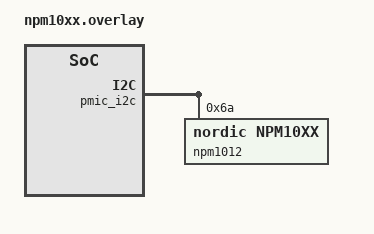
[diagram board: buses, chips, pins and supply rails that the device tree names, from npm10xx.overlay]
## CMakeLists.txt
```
# Copyright (c) 2026 Nordic Semiconductor ASA
# SPDX-License-Identifier: Apache-2.0

cmake_minimum_required(VERSION 3.20.0)

list(APPEND EXTRA_DTC_OVERLAY_FILE npm10xx.overlay)
find_package(Zephyr REQUIRED HINTS $ENV{ZEPHYR_BASE})

project(npm10xx_uicr_sample)

target_sources(app PRIVATE src/main.c)
```

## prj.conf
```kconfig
# Copyright (c) 2026 Nordic Semiconductor ASA
# SPDX-License-Identifier: Apache-2.0

# Logging
CONFIG_LOG=y
# Dry run spits out a lot of messages - avoid dropping any due to buffering
CONFIG_LOG_MODE_IMMEDIATE=y

# Required drivers
CONFIG_CHARGER=y
CONFIG_MFD=y
CONFIG_OTP=y
CONFIG_SENSOR=y

CONFIG_OTP_PROGRAM=y
# Dry run programming by default for safety - change at your own risk
CONFIG_OTP_NPM10XX_DRY_RUN=y
```

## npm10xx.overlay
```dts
/*
 * Copyright (C) 2026 Nordic Semiconductor ASA
 * SPDX-License-Identifier: Apache-2.0
 */

&pmic_i2c {
	npm1012: pmic@6a {
		compatible = "nordic,npm10xx";
		reg = <0x6a>;

		npm1012_charger: charger {
			compatible = "nordic,npm10xx-charger";
			/* UICR programming requires highest VBUS current limit. The VBUS source
			 * must also be able to deliver UICR programming peak current (40 mA) +
			 * total system load.
			 */
			vbus-limit-microamp = <300000>;
		};

		npm1012_adc: sensor {
			compatible = "nordic,npm10xx-adc";
		};

		npm1012_uicr: otp {
			compatible = "nordic,npm10xx-uicr";
		};
	};
};
```

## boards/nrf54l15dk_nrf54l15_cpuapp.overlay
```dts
/*
 * Copyright (C) 2026 Nordic Semiconductor ASA
 * SPDX-License-Identifier: Apache-2.0
 */

&pinctrl {
	pmic_i2c_default: pmic_i2c_default {
		group1 {
			psels = <NRF_PSEL(TWIM_SDA, 1, 11)>,
				<NRF_PSEL(TWIM_SCL, 1, 12)>;
			bias-pull-up;
		};
	};

	pmic_i2c_sleep: pmic_i2c_sleep {
		group1 {
			psels = <NRF_PSEL(TWIM_SDA, 1, 11)>,
				<NRF_PSEL(TWIM_SCL, 1, 12)>;
			low-power-enable;
		};
	};
};

pmic_i2c: &i2c21 {
	pinctrl-0 = <&pmic_i2c_default>;
	pinctrl-1 = <&pmic_i2c_sleep>;
	pinctrl-names = "default", "sleep";
	status = "okay";
};
```

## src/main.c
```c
/*
 * Copyright (C) 2026 Nordic Semiconductor ASA
 * SPDX-License-Identifier: Apache-2.0
 */

#include <zephyr/kernel.h>
#include <zephyr/drivers/mfd/npm10xx.h>
#include <zephyr/drivers/charger.h>
#include <zephyr/drivers/otp.h>
#include <zephyr/drivers/otp/npm10xx.h>
#include <zephyr/drivers/sensor.h>
#include <zephyr/drivers/sensor/npm10xx.h>
#include <zephyr/logging/log.h>

#include "npm1012_otp.h"

LOG_MODULE_REGISTER(main, CONFIG_LOG_DEFAULT_LEVEL);

static const uint8_t uicr_data[OTP_NPM10XX_UICR_SIZE] = NPM1012_OTP_ARRAY;

static const struct device *npm1012 = DEVICE_DT_GET(DT_NODELABEL(npm1012));
static const struct device *npm1012_adc = DEVICE_DT_GET(DT_NODELABEL(npm1012_adc));
static const struct device *npm1012_charger = DEVICE_DT_GET(DT_NODELABEL(npm1012_charger));
static const struct device *npm1012_uicr = DEVICE_DT_GET(DT_NODELABEL(npm1012_uicr));

#define VBUS_STATE_RETRY_MS 500
/* ref. datasheet chapter 3.5.15 for electrical specifications on UICR programming */
#define VBUS_WITHIN_RANGE(vbus_mv)    ((vbus_mv) > 4750 && (vbus_mv) < 5500)
#define DIE_TEMP_WITHIN_RANGE(die_mC) ((die_mC) > 10000 && (die_mC) < 40000)

static bool devices_are_ready(void)
{
	if (!device_is_ready(npm1012)) {
		LOG_ERR("MFD not ready");
		return false;
	}
	if (!device_is_ready(npm1012_adc)) {
		LOG_ERR("ADC not ready");
		return false;
	}
	if (!device_is_ready(npm1012_charger)) {
		LOG_ERR("Charger not ready");
		return false;
	}
	if (!device_is_ready(npm1012_uicr)) {
		LOG_ERR("UICR not ready");
		return false;
	}

	return true;
}

static int wait_for_vbus(enum charger_online state)
{
	int ret;
	union charger_propval val;

	do {
		k_msleep(VBUS_STATE_RETRY_MS);

		ret = charger_get_prop(npm1012_charger, CHARGER_PROP_ONLINE, &val);
		if (ret < 0) {
			LOG_ERR("failed to get VBUS status (%d)", ret);
			return ret;
		}

	} while (val.online != state);

	return 0;
}

static int check_params(void)
{
	int ret;
	struct sensor_value val;
	int64_t vbus_mv, die_mC;

	ret = sensor_sample_fetch_chan(npm1012_adc, (enum sensor_channel)NPM10XX_SENSOR_CHAN_VBUS);
	if (ret < 0) {
		LOG_ERR("failed to fetch VBUS sensor channel (%d)", ret);
		return ret;
	}

	ret = sensor_sample_fetch_chan(npm1012_adc, SENSOR_CHAN_DIE_TEMP);
	if (ret < 0) {
		LOG_ERR("failed to fetch die temperature sensor channel (%d)", ret);
		return ret;
	}

	(void)sensor_channel_get(npm1012_adc, (enum sensor_channel)NPM10XX_SENSOR_CHAN_VBUS, &val);
	vbus_mv = sensor_value_to_milli(&val);

	(void)sensor_channel_get(npm1012_adc, SENSOR_CHAN_DIE_TEMP, &val);
	die_mC = sensor_value_to_milli(&val);

	if (!VBUS_WITHIN_RANGE(vbus_mv)) {
		LOG_ERR("VBUS is outside of spec for UICR programming (%lld mV)", vbus_mv);
		return -EINVAL;
	}

	if (!DIE_TEMP_WITHIN_RANGE(die_mC)) {
		LOG_ERR("Die temp is outside of spec for UICR programming (%lld m°C)", die_mC);
		return -EINVAL;
	}

	return 0;
}

int main(void)
{
	int ret;

	if (!devices_are_ready()) {
		return -ENODEV;
	}

	if (IS_ENABLED(CONFIG_OTP_NPM10XX_DRY_RUN)) {
		LOG_WRN("This is a dry run - nothing will actually get programmed.");
	}

	LOG_WRN("VBUS connection is required for UICR programming to proceed.");

	ret = wait_for_vbus(CHARGER_ONLINE_FIXED);
	if (ret < 0) {
		return ret;
	}

	ret = check_params();
	if (ret < 0) {
		return ret;
	}

	LOG_INF("VBUS connected, parameters within range, starting UICR programming...");

	ret = otp_program(npm1012_uicr, 0U, uicr_data, sizeof(uicr_data));

	if (ret < 0) {
		LOG_ERR("UICR programming failed (%d)", ret);
		return ret;
	}

	LOG_INF("UICR programming success. Remove VBUS...");

	ret = wait_for_vbus(CHARGER_ONLINE_OFFLINE);
	if (ret < 0) {
		return ret;
	}

	LOG_INF("VBUS disconnected, resetting PMIC...");
	(void)mfd_npm10xx_reset(npm1012);

	return ret;
}
```

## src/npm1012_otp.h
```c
/*
 * Copyright (C) 2026 Nordic Semiconductor ASA
 * SPDX-License-Identifier: Apache-2.0
 */

/**
 * Example UICR configuration. The bits to be burned are as follows:
 *   - bit 6: disconnect GPIO2 input buffer and pull-down (prevent leakage through LED wired to it)
 *   - bit 9: enable battery charging
 *   - bit 13: enable weak battery charging (disable regulators until VBAT reaches a set threshold)
 *   - bits 17, 18, 21: set default charge current to 0x13 [0.5 + 0.5 * 19 = 10.0 mA]
 *   - bits 70, 72: set weak VBAT threshold to 0x5 [2.5 + 0.1 * 5 = 3.0 V]
 *   - bit 76: set Buck VOUT based on the register value instead of the VSET pin
 *   - bits 77, 78, 79, 82: set Buck VOUT to 0x27 [0.55 + 0.05 * 39 = 2.5 V]
 *   - bit 88: enable the boot monitor
 *   - bit 97: OTP user version = 0x01
 */
#define NPM1012_OTP_ARRAY                                                                          \
	{                                                                                          \
		0x40, 0x22, 0x26, 0x00, 0x00, 0x00, 0x00, 0x00, 0x40, 0xF1, 0x04, 0x01, 0x02,      \
	}
```
